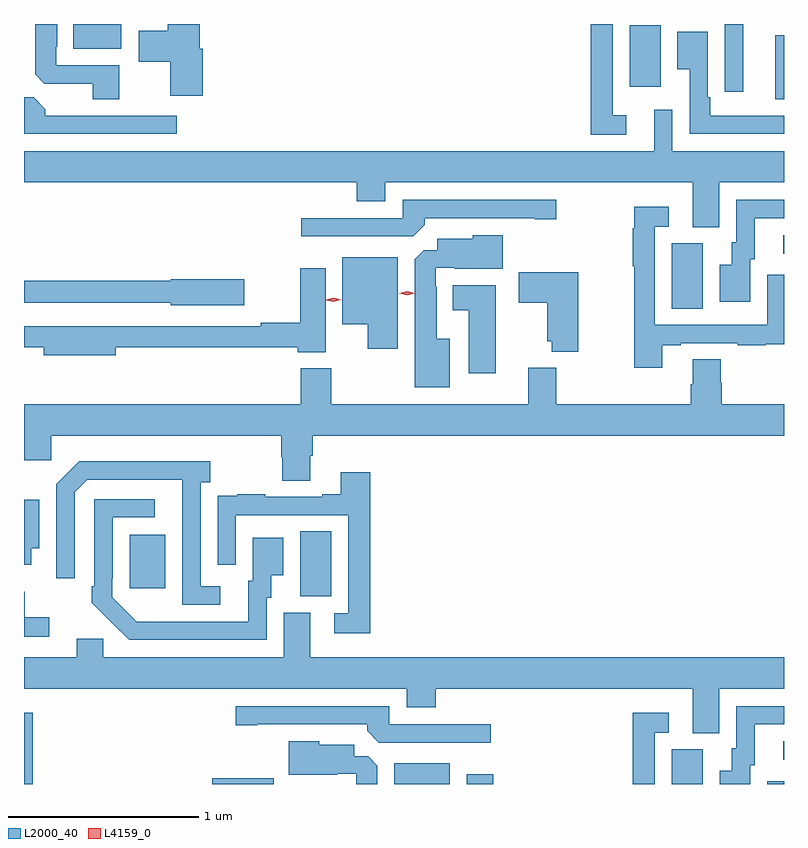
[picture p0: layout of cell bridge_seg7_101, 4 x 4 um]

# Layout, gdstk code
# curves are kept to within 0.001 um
import gdstk
lib = gdstk.Library(unit=1e-6, precision=1e-09)
def R(c, l, rs):  # rectangles x0, y0, x1, y1
    for r in rs: c.add(gdstk.rectangle(r[:2], r[2:], *l))
def P(c, l, *ps):  # polygons
    for p in ps: c.add(gdstk.Polygon(p, *l))
L2000_40 = (2000, 40)
L4159_0 = (4159, 0)

bridge_seg7_101 = lib.new_cell('bridge_seg7_101')
R(bridge_seg7_101, L2000_40, [(1089.205,1018.762,1089.251,1019.137), (1090.196,1018.762,1090.519,1018.792), (1091.153,1018.762,1091.446,1018.87), (1091.534,1018.762,1091.676,1018.813), (1092.614,1018.762,1092.778,1018.944), (1093.116,1018.762,1093.205,1018.777), (1093.2,1018.89,1093.205,1018.986), (1090.658,1019.749,1090.822,1020.092), (1089.761,1019.793,1089.949,1020.073), (1092.614,1021.264,1092.778,1021.608), (1093.2,1021.554,1093.205,1021.65), (1093.16,1022.365,1093.205,1022.703), (1092.894,1022.406,1092.991,1022.762), (1092.392,1022.433,1092.556,1022.756), (1089.464,1022.633,1089.718,1022.762)])
P(bridge_seg7_101, L2000_40, [(1089.706,1022.544),(1089.375,1022.544),(1089.375,1022.641),(1089.379,1022.641),(1089.379,1022.762),(1089.263,1022.762),(1089.263,1022.497),(1089.312,1022.448),(1089.566,1022.448),(1089.566,1022.365),(1089.706,1022.365)],
  [(1090.145,1022.633),(1090.13,1022.633),(1090.13,1022.762),(1089.962,1022.762),(1089.962,1022.727),(1089.81,1022.727),(1089.81,1022.564),(1089.974,1022.564),(1089.974,1022.385),(1090.145,1022.385)],
  [(1092.376,1022.283),(1092.303,1022.283),(1092.303,1022.762),(1092.187,1022.762),(1092.187,1022.178),(1092.376,1022.178)],
  [(1093.205,1022.28),(1092.817,1022.28),(1092.817,1022.377),(1092.804,1022.377),(1092.804,1022.722),(1092.644,1022.722),(1092.644,1022.525),(1092.708,1022.525),(1092.708,1022.184),(1093.205,1022.184)],
  [(1090.009,1022.28),(1089.317,1022.28),(1089.317,1022.314),(1089.255,1022.376),(1089.205,1022.376),(1089.205,1022.184),(1090.009,1022.184)],
  [(1092.865,1021.928),(1093.205,1021.928),(1093.205,1022.092),(1092.618,1022.092),(1092.618,1022.311),(1092.521,1022.311),(1092.521,1022.092),(1089.205,1022.092),(1089.205,1021.928),(1090.955,1021.928),(1090.955,1021.829),(1091.107,1021.829),(1091.107,1021.928),(1092.725,1021.928),(1092.725,1021.693),(1092.865,1021.693)],
  [(1093.027,1021.524),(1093.051,1021.524),(1093.051,1021.74),(1093.205,1021.74),(1093.205,1021.836),(1092.954,1021.836),(1092.954,1021.614),(1092.929,1021.614),(1092.929,1021.495),(1092.866,1021.495),(1092.866,1021.299),(1093.027,1021.299)],
  [(1091.315,1021.706),(1091.315,1021.74),(1091.894,1021.74),(1091.894,1021.735),(1092.007,1021.735),(1092.007,1021.836),(1091.199,1021.836),(1091.199,1021.74),(1090.665,1021.74),(1090.665,1021.644),(1091.253,1021.644)],
  [(1092.565,1021.071),(1092.661,1021.071),(1092.661,1021.083),(1092.961,1021.083),(1092.961,1021.071),(1093.109,1021.071),(1093.109,1021.077),(1093.205,1021.077),(1093.205,1021.441),(1093.116,1021.441),(1093.116,1021.179),(1092.525,1021.179),(1092.525,1021.695),(1092.598,1021.695),(1092.598,1021.801),(1092.417,1021.801),(1092.417,1021.688),(1092.409,1021.688),(1092.409,1021.488),(1092.417,1021.488),(1092.417,1020.954),(1092.565,1020.954)],
  [(1091.446,1021.105),(1091.377,1021.105),(1091.377,1021.379),(1091.373,1021.379),(1091.373,1021.479),(1091.473,1021.479),(1091.473,1021.475),(1091.725,1021.475),(1091.725,1021.651),(1091.568,1021.651),(1091.568,1021.633),(1091.381,1021.633),(1091.381,1021.572),(1091.31,1021.572),(1091.261,1021.523),(1091.261,1020.851),(1091.446,1020.851)],
  [(1091.173,1021.534),(1090.88,1021.534),(1090.88,1021.181),(1091.015,1021.181),(1091.015,1021.053),(1091.173,1021.053)],
  [(1089.688,1021.062),(1090.646,1021.062),(1090.646,1021.034),(1090.792,1021.034),(1090.792,1021.477),(1090.658,1021.477),(1090.658,1021.19),(1090.45,1021.19),(1090.45,1021.17),(1089.205,1021.17),(1089.205,1021.062),(1089.308,1021.062),(1089.308,1021.019),(1089.688,1021.019)],
  [(1092.123,1021.456),(1091.808,1021.456),(1091.808,1021.294),(1091.96,1021.294),(1091.96,1021.091),(1091.983,1021.091),(1091.983,1021.037),(1092.123,1021.037)],
  [(1090.363,1021.418),(1089.978,1021.418),(1089.978,1021.412),(1089.205,1021.412),(1089.205,1021.296),(1089.978,1021.296),(1089.978,1021.283),(1090.363,1021.283)],
  [(1091.689,1021.387),(1091.462,1021.387),(1091.462,1021.256),(1091.546,1021.256),(1091.546,1020.924),(1091.689,1020.924)],
  [(1090.711,1020.49),(1090.724,1020.49),(1090.724,1020.596),(1093.205,1020.596),(1093.205,1020.76),(1092.878,1020.76),(1092.878,1020.873),(1092.873,1020.873),(1092.873,1020.998),(1092.725,1020.998),(1092.725,1020.866),(1092.713,1020.866),(1092.713,1020.76),(1092.006,1020.76),(1092.006,1020.952),(1091.858,1020.952),(1091.858,1020.76),(1090.821,1020.76),(1090.821,1020.949),(1090.661,1020.949),(1090.661,1020.76),(1089.205,1020.76),(1089.205,1020.465),(1089.348,1020.465),(1089.348,1020.596),(1090.559,1020.596),(1090.559,1020.483),(1090.564,1020.483),(1090.564,1020.358),(1090.711,1020.358)],
  [(1090.237,1019.802),(1090.134,1019.802),(1090.134,1020.35),(1090.186,1020.35),(1090.186,1020.46),(1089.496,1020.46),(1089.375,1020.339),(1089.375,1019.844),(1089.471,1019.844),(1089.471,1020.297),(1089.537,1020.363),(1090.038,1020.363),(1090.038,1019.706),(1090.237,1019.706)],
  [(1091.027,1020.403),(1090.871,1020.403),(1090.871,1020.286),(1090.775,1020.286),(1090.775,1020.273),(1090.475,1020.273),(1090.475,1020.286),(1090.327,1020.286),(1090.327,1020.279),(1090.225,1020.279),(1090.225,1020.17),(1090.224,1020.17),(1090.224,1019.916),(1090.32,1019.916),(1090.32,1020.177),(1090.911,1020.177),(1090.911,1019.661),(1090.839,1019.661),(1090.839,1019.556),(1091.027,1019.556)],
  [(1090.482,1019.742),(1090.507,1019.742),(1090.507,1019.861),(1090.57,1019.861),(1090.57,1020.058),(1090.409,1020.058),(1090.409,1019.832),(1090.385,1019.832),(1090.385,1019.616),(1089.798,1019.617),(1089.669,1019.745),(1089.669,1019.845),(1089.672,1019.845),(1089.672,1020.165),(1089.892,1020.165),(1089.892,1020.261),(1089.576,1020.261),(1089.576,1019.803),(1089.561,1019.803),(1089.561,1019.715),(1089.758,1019.52),(1090.482,1019.52)],
  [(1089.244,1020.002),(1089.286,1020.002),(1089.286,1020.259),(1089.205,1020.259),(1089.205,1019.915),(1089.244,1019.915)],
  [(1089.337,1019.639),(1089.208,1019.639),(1089.208,1019.775),(1089.205,1019.775),(1089.205,1019.538),(1089.337,1019.538)],
  [(1092.865,1019.264),(1093.205,1019.264),(1093.205,1019.428),(1090.711,1019.428),(1090.711,1019.664),(1090.571,1019.664),(1090.571,1019.428),(1089.621,1019.428),(1089.621,1019.526),(1089.482,1019.526),(1089.482,1019.428),(1089.205,1019.428),(1089.205,1019.264),(1091.219,1019.264),(1091.219,1019.165),(1091.372,1019.165),(1091.372,1019.264),(1092.725,1019.264),(1092.725,1019.029),(1092.865,1019.029)],
  [(1091.662,1019.076),(1091.127,1019.076),(1091.127,1019.172),(1090.32,1019.172),(1090.32,1019.071),(1090.432,1019.071),(1090.432,1019.076),(1091.012,1019.076),(1091.012,1019.042),(1091.073,1018.98),(1091.662,1018.98)],
  [(1093.027,1018.86),(1093.051,1018.86),(1093.051,1019.076),(1093.205,1019.076),(1093.205,1019.172),(1092.954,1019.172),(1092.954,1018.95),(1092.929,1018.95),(1092.929,1018.831),(1092.866,1018.831),(1092.866,1018.762),(1093.027,1018.762)],
  [(1092.525,1019.031),(1092.598,1019.031),(1092.598,1019.137),(1092.409,1019.137),(1092.409,1018.762),(1092.525,1018.762)],
  [(1091.065,1018.859),(1091.016,1018.908),(1090.942,1018.908),(1090.942,1018.969),(1090.758,1018.969),(1090.758,1018.987),(1090.598,1018.987),(1090.598,1018.811),(1090.853,1018.811),(1090.853,1018.815),(1090.953,1018.815),(1090.953,1018.762),(1091.065,1018.762)])
P(bridge_seg7_101, L4159_0, [(1091.221,1021.335),(1091.18,1021.345),(1091.18,1021.345),(1091.18,1021.345),(1091.221,1021.355),(1091.262,1021.346),(1091.262,1021.345),(1091.262,1021.345)],
  [(1090.834,1021.3),(1090.795,1021.309),(1090.794,1021.31),(1090.795,1021.31),(1090.834,1021.32),(1090.873,1021.312),(1090.874,1021.311),(1090.873,1021.311)])

lib.write_gds('bridge_seg7_101.gds')
